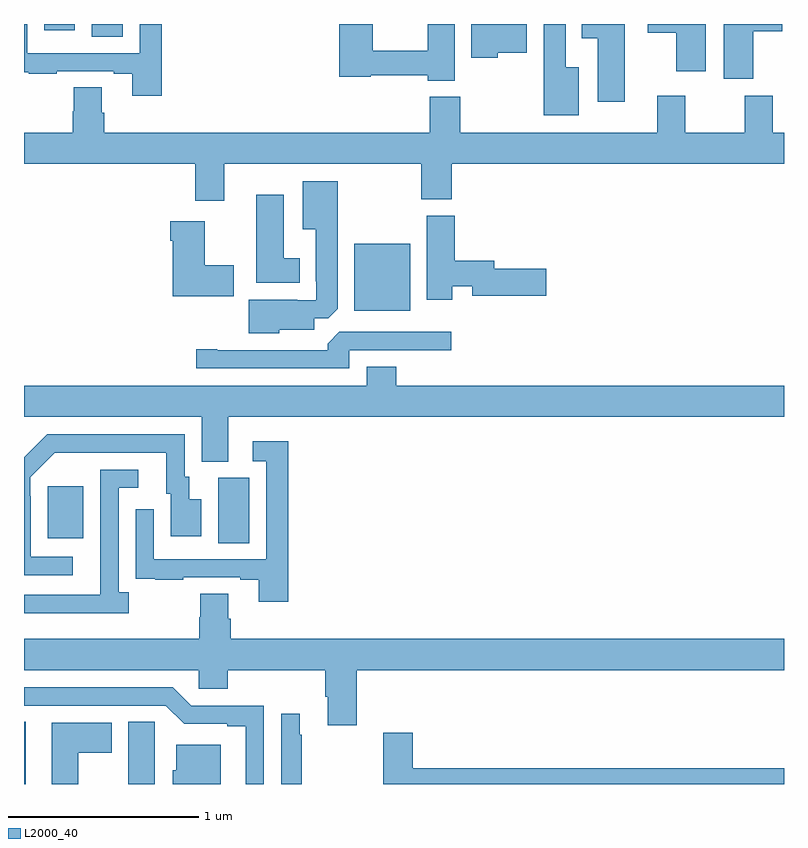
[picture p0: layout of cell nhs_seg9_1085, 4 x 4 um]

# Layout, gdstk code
import gdstk
lib = gdstk.Library(unit=1e-6, precision=1e-09)
def R(c, l, rs):  # rectangles x0, y0, x1, y1
    for r in rs: c.add(gdstk.rectangle(r[:2], r[2:], *l))
def P(c, l, *ps):  # polygons
    for p in ps: c.add(gdstk.Polygon(p, *l))
L2000_40 = (2000, 40)

nhs_seg9_1085 = lib.new_cell('nhs_seg9_1085')
R(nhs_seg9_1085, L2000_40, [(171,1182.5,171.01,1182.827), (172.022,1183.768,172.186,1184.112), (171.125,1183.793,171.313,1184.068), (172.739,1184.99,173.032,1185.343), (171.356,1186.432,171.52,1186.5), (171.107,1186.467,171.268,1186.5)])
P(nhs_seg9_1085, L2000_40, [(174.589,1186.5),(174.282,1186.5),(174.282,1186.455),(174.434,1186.455),(174.434,1186.251),(174.589,1186.251)],
  [(173.266,1186.5),(173.125,1186.5),(173.125,1186.358),(172.836,1186.358),(172.836,1186.5),(172.658,1186.5),(172.658,1186.222),(172.824,1186.222),(172.824,1186.23),(173.125,1186.23),(173.125,1186.202),(173.266,1186.202)],
  [(171.725,1186.5),(171.609,1186.5),(171.609,1186.347),(171.018,1186.347),(171.018,1186.5),(171,1186.5),(171,1186.245),(171.025,1186.245),(171.025,1186.239),(171.173,1186.239),(171.173,1186.251),(171.473,1186.251),(171.473,1186.239),(171.569,1186.239),(171.569,1186.122),(171.725,1186.122)],
  [(174.163,1186.5),(173.936,1186.5),(173.936,1186.424),(174.02,1186.424),(174.02,1186.092),(174.163,1186.092)],
  [(173.493,1186.349),(173.647,1186.349),(173.647,1186.5),(173.354,1186.5),(173.354,1186.322),(173.493,1186.322)],
  [(174.838,1186.462),(174.991,1186.462),(174.991,1186.5),(174.683,1186.5),(174.683,1186.211),(174.838,1186.211)],
  [(173.92,1186.273),(173.851,1186.273),(173.851,1186.5),(173.735,1186.5),(173.735,1186.019),(173.92,1186.019)],
  [(174.793,1186.123),(174.793,1185.928),(174.48,1185.928),(174.48,1186.123),(174.332,1186.123),(174.332,1185.928),(173.295,1185.928),(173.295,1186.117),(173.135,1186.117),(173.135,1185.928),(171.422,1185.928),(171.422,1186.034),(171.409,1186.034),(171.409,1186.166),(171.262,1186.166),(171.262,1186.041),(171.257,1186.041),(171.257,1185.928),(171,1185.928),(171,1185.764),(171.902,1185.764),(171.902,1185.57),(172.054,1185.57),(172.054,1185.764),(173.092,1185.764),(173.092,1185.577),(173.252,1185.577),(173.252,1185.764),(175,1185.764),(175,1185.928),(174.94,1185.928),(174.94,1186.123)],
  [(172.344,1184.891),(172.528,1184.891),(172.528,1184.952),(172.602,1184.952),(172.651,1185.001),(172.651,1185.673),(172.466,1185.673),(172.466,1185.419),(172.535,1185.419),(172.535,1185.145),(172.539,1185.145),(172.539,1185.045),(172.439,1185.045),(172.439,1185.049),(172.184,1185.049),(172.184,1184.873),(172.344,1184.873)],
  [(172.45,1185.268),(172.366,1185.268),(172.366,1185.601),(172.223,1185.601),(172.223,1185.137),(172.45,1185.137)],
  [(173.254,1185.119),(173.36,1185.119),(173.36,1185.07),(173.749,1185.07),(173.749,1185.212),(173.476,1185.212),(173.476,1185.254),(173.267,1185.254),(173.267,1185.492),(173.12,1185.492),(173.12,1185.048),(173.254,1185.048)],
  [(172.105,1185.231),(171.952,1185.231),(171.952,1185.463),(171.77,1185.463),(171.77,1185.359),(171.782,1185.359),(171.782,1185.068),(172.105,1185.068)],
  [(172.713,1184.784),(173.248,1184.784),(173.248,1184.88),(172.659,1184.88),(172.598,1184.818),(172.598,1184.784),(172.018,1184.784),(172.018,1184.789),(171.906,1184.789),(171.906,1184.688),(172.713,1184.688)],
  [(172.075,1184.432),(175,1184.432),(175,1184.596),(172.958,1184.596),(172.958,1184.695),(172.805,1184.695),(172.805,1184.596),(171,1184.596),(171,1184.432),(171.935,1184.432),(171.935,1184.197),(172.075,1184.197)],
  [(171.256,1183.695),(171.036,1183.695),(171.036,1184.015),(171.033,1184.015),(171.033,1184.115),(171.162,1184.244),(171.749,1184.244),(171.749,1184.028),(171.773,1184.028),(171.773,1183.803),(171.934,1183.803),(171.934,1183.999),(171.871,1183.999),(171.871,1184.118),(171.846,1184.118),(171.846,1184.34),(171.122,1184.34),(171.031,1184.249),(171.03,1184.25),(171,1184.22),(171,1183.599),(171.256,1183.599)],
  [(172.391,1184.305),(172.203,1184.305),(172.203,1184.199),(172.275,1184.199),(172.275,1183.683),(171.684,1183.683),(171.684,1183.945),(171.588,1183.945),(171.588,1183.69),(171.589,1183.69),(171.589,1183.581),(171.691,1183.581),(171.691,1183.575),(171.839,1183.575),(171.839,1183.587),(172.139,1183.587),(172.139,1183.575),(172.235,1183.575),(172.235,1183.458),(172.391,1183.458)],
  [(171.55,1183.51),(171.498,1183.51),(171.498,1184.058),(171.601,1184.058),(171.601,1184.154),(171.402,1184.154),(171.402,1183.697),(171.401,1183.697),(171.401,1183.497),(171,1183.497),(171,1183.4),(171.55,1183.4)],
  [(172.751,1183.1),(175,1183.1),(175,1183.264),(172.088,1183.264),(172.088,1183.37),(172.075,1183.37),(172.075,1183.502),(171.928,1183.502),(171.928,1183.377),(171.923,1183.377),(171.923,1183.264),(171,1183.264),(171,1183.1),(171.921,1183.1),(171.921,1183.002),(172.073,1183.002),(172.073,1183.1),(172.586,1183.1),(172.586,1182.958),(172.598,1182.958),(172.598,1182.81),(172.751,1182.81)],
  [(172.263,1182.912),(171.879,1182.912),(171.783,1183.008),(171,1183.008),(171,1182.912),(171.747,1182.912),(171.843,1182.816),(172.07,1182.816),(172.07,1182.804),(172.166,1182.804),(172.166,1182.5),(172.263,1182.5)],
  [(172.462,1182.758),(172.45,1182.758),(172.45,1182.871),(172.353,1182.871),(172.353,1182.5),(172.462,1182.5)],
  [(171.688,1182.716),(171.687,1182.716),(171.687,1182.827),(171.548,1182.827),(171.548,1182.5),(171.688,1182.5)],
  [(171.286,1182.664),(171.463,1182.664),(171.463,1182.823),(171.146,1182.823),(171.146,1182.5),(171.286,1182.5)],
  [(175,1182.584),(173.045,1182.584),(173.045,1182.769),(172.891,1182.769),(172.891,1182.5),(175,1182.5)],
  [(172.036,1182.706),(171.8,1182.706),(171.8,1182.573),(171.782,1182.573),(171.782,1182.5),(172.036,1182.5)])

lib.write_gds('nhs_seg9_1085.gds')
